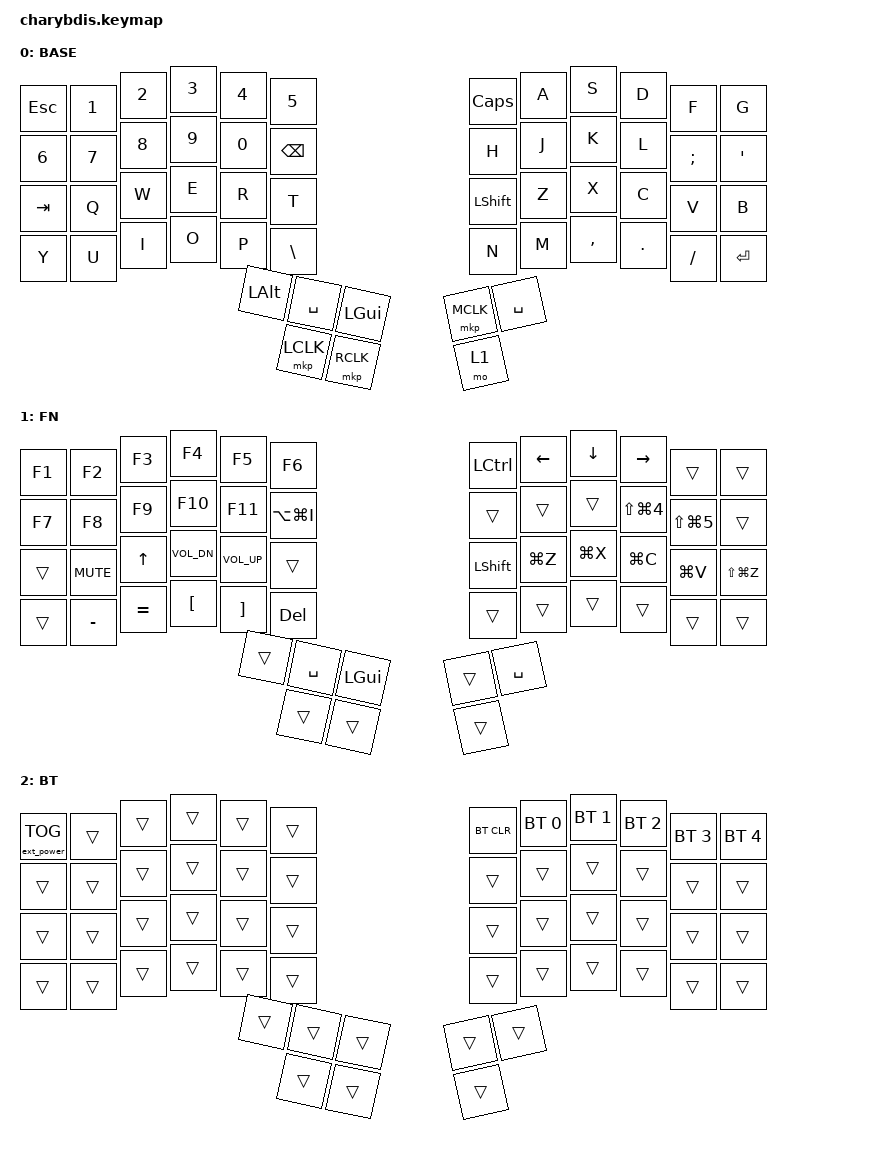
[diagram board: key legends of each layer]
#include <behaviors/mouse_keys.dtsi>
#include <behaviors.dtsi>
#include <dt-bindings/zmk/bt.h>
#include <dt-bindings/zmk/ext_power.h>
#include <dt-bindings/zmk/keys.h>
#include <dt-bindings/zmk/mouse.h>
#include <dt-bindings/zmk/pointing.h>

// Layer definitions
// 0: BASE    - standard QWERTY for Mac
// 1: FN      - arrows on WASD, symbols, edit macros, screenshots, devtools + trackball PAN
// 2: BT      - bluetooth management (V+B combo to enter)

/ {
    /* Trackball: mouse move on BASE layer */
    trackball_listener {
        compatible = "zmk,input-behavior-listener";
        device = <&vtrackball>;
        layers = <0>;
        evt-type = <INPUT_EV_REL>;
        x-input-code = <INPUT_REL_X>;
        y-input-code = <INPUT_REL_Y>;
        x-invert;
        y-invert;
        scale-multiplier = <1>;
        scale-divisor = <2>;
    };

    /* Trackball: 2D pan (horizontal + vertical wheel) on FN layer */
    trackball_pan_listener {
        compatible = "zmk,input-behavior-listener";
        device = <&vtrackball>;
        layers = <1>;
        evt-type = <INPUT_EV_REL>;
        x-input-code = <INPUT_REL_HWHEEL>;
        y-input-code = <INPUT_REL_WHEEL>;
        y-invert;
        bindings = <&ib_wheel_scaler 1 12>;
    };


    ib_wheel_scaler: ib_wheel_scaler {
        compatible = "zmk,input-behavior-scaler";
        #binding-cells = <2>;
        evt-type = <INPUT_EV_REL>;
        input-code = <INPUT_REL_WHEEL>;
    };

    combos {
        compatible = "zmk,combos";

        to-BT {
            bindings = <&mo 2>;
            key-positions = <40 41>;
            layers = <0 1>;
        };

    };

    keymap {
        compatible = "zmk,keymap";

        default_layer {
            label = "BASE";
            bindings = <
&kp ESCAPE  &kp N1  &kp N2  &kp N3  &kp N4      &kp N5        &kp N6     &kp N7    &kp N8     &kp N9   &kp N0    &kp BSPC
&kp TAB     &kp Q   &kp W   &kp E   &kp R       &kp T         &kp Y      &kp U     &kp I      &kp O    &kp P     &kp BSLH
&kp CAPS    &kp A   &kp S   &kp D   &kp F       &kp G         &kp H      &kp J     &kp K      &kp L    &kp SEMI  &kp SQT
&kp LSHFT   &kp Z   &kp X   &kp C   &kp V       &kp B         &kp N      &kp M     &kp COMMA  &kp DOT  &kp FSLH  &kp RET
                            &kp LALT  &kp SPACE  &kp LGUI  &mkp MCLK  &kp SPACE
                                          &mkp LCLK  &mkp RCLK  &mo 1
            >;
        };

        fn_layer {
            label = "FN";
            bindings = <
&kp F1     &kp F2       &kp F3    &kp F4         &kp F5         &kp F6        &kp F7    &kp F8     &kp F9      &kp F10       &kp F11        &kp LA(LG(I))
&trans     &kp C_MUTE   &kp UP    &kp C_VOL_DN   &kp C_VOL_UP   &trans        &trans    &kp MINUS  &kp EQUAL   &kp LBKT      &kp RBKT       &kp DEL
&kp LCTRL  &kp LEFT     &kp DOWN  &kp RIGHT      &trans         &trans        &trans    &trans     &trans      &kp LS(LG(N4)) &kp LS(LG(N5)) &trans
&kp LSHFT  &kp LG(Z)    &kp LG(X) &kp LG(C)      &kp LG(V)      &kp LS(LG(Z)) &trans    &trans     &trans      &trans        &trans         &trans
                                  &trans         &kp SPACE      &kp LGUI      &trans    &kp SPACE
                                                 &trans         &trans        &trans
            >;
        };

        bt_layer {
            label = "BT";
            bindings = <
&ext_power EP_TOG  &trans        &trans        &trans        &trans        &trans          &trans  &trans  &trans  &trans  &trans  &trans
&trans             &trans        &trans        &trans        &trans        &trans          &trans  &trans  &trans  &trans  &trans  &trans
&bt BT_CLR         &bt BT_SEL 0  &bt BT_SEL 1  &bt BT_SEL 2  &bt BT_SEL 3  &bt BT_SEL 4    &trans  &trans  &trans  &trans  &trans  &trans
&trans             &trans        &trans        &trans        &trans        &trans          &trans  &trans  &trans  &trans  &trans  &trans
                                               &trans        &trans        &trans          &trans  &trans
                                                             &trans        &trans          &trans
            >;
        };
    };
};
